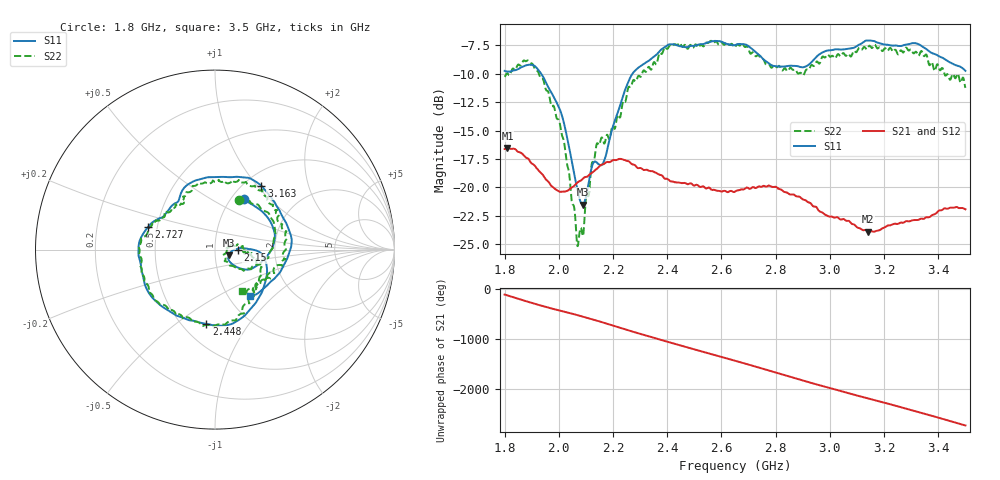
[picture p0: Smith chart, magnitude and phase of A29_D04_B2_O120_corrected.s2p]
! Created with skrf 1.9.0 (http://scikit-rf.org).
# Hz S RI R 50.0
!freq ReS11 ImS11 ReS21 ImS21 ReS12 ImS12 ReS22 ImS22
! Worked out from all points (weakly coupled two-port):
!   1601 points, 1.8 GHz to 3.5 GHz, reference 50 ohm
!   highest |S21| = -16.54 dB at 1.811 GHz (marker M1); lowest = -23.9 dB at 3.142 GHz (marker M2)
!   lowest |S11| = -21.5 dB at 2.088 GHz (marker M3), VSWR 1.18, Z = 58.3 - j3.82 ohm
!   |S11| at or under -10 dB: 1.935 GHz to 2.272 GHz (337.1 MHz wide, 16 % of centre)
!   |S22| runs from -25.2 to -7.1 dB; largest |S21 - S12| = 0.0023
!   S11 on the Smith chart (normalised r, x): 1.8 GHz: 1.14, +0.72; 2.15 GHz: 1.29, -0.01; 2.448 GHz: 0.65, -0.65; 2.727 GHz: 0.45, +0.13; 3.163 GHz: 1.19, +1.05; 3.5 GHz: 1.25, -0.73
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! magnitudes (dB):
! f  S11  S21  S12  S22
! 1.8 GHz  -9.8  -16.6  -16.6  -10.3
! 1.811 GHz  -9.8  -16.5  -16.5  -10.0
! 1.882 GHz  -9.3  -17.4  -17.4  -8.9
! 1.941 GHz  -10.2  -18.9  -18.9  -10.5
! 2.01 GHz  -13.6  -20.4  -20.4  -15.3
! 2.067 GHz  -20.0  -19.6  -19.6  -24.8
! 2.084 GHz  -21.4  -19.4  -19.3  -23.7
! 2.088 GHz  -21.5  -19.3  -19.3  -24.3
! 2.125 GHz  -18.0  -18.7  -18.7  -17.8
! 2.15 GHz  -18.0  -18.2  -18.2  -16.2
! 2.188 GHz  -15.7  -17.8  -17.8  -15.7
! 2.264 GHz  -10.3  -17.8  -17.8  -11.2
! 2.367 GHz  -8.2  -18.8  -18.8  -8.5
! 2.448 GHz  -7.6  -19.6  -19.6  -7.4
! 2.65 GHz  -7.5  -20.4  -20.3  -7.7
! 2.727 GHz  -8.1  -20.1  -20.1  -8.5
! 2.934 GHz  -8.9  -21.5  -21.5  -9.2
! 3.142 GHz  -7.1  -23.9  -23.8  -7.7
! 3.163 GHz  -7.1  -23.9  -23.9  -7.5
! 3.217 GHz  -7.5  -23.3  -23.3  -7.9
! 3.342 GHz  -7.6  -22.8  -22.7  -8.2
! 3.5 GHz  -9.8  -21.9  -21.9  -11.3
